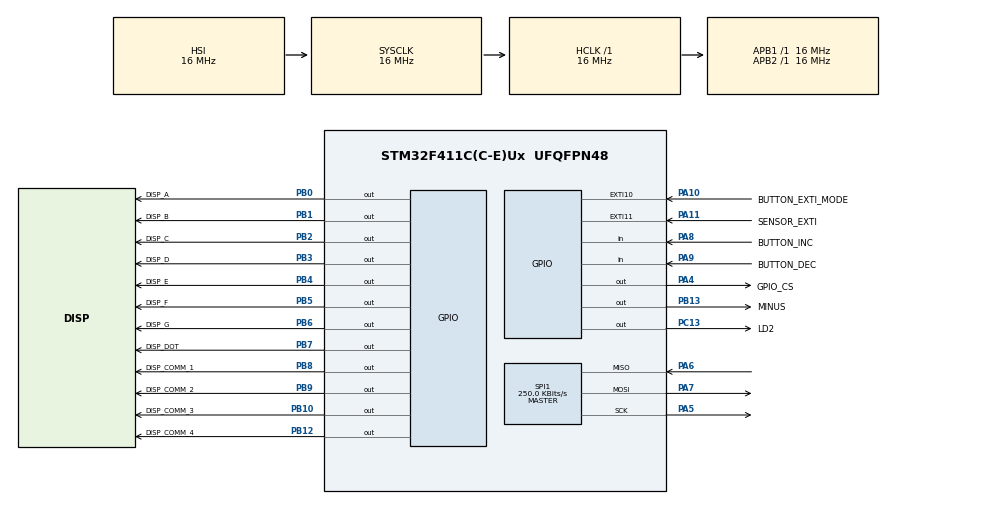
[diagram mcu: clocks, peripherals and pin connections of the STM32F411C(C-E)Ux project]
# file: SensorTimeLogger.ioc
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Mcu.Family=STM32F4
Mcu.Name=STM32F411C(C-E)Ux
Mcu.Package=UFQFPN48
NVIC.EXTI15_10_IRQn=true\:0\:0\:false\:false\:true\:true\:true\:true
NVIC.PriorityGroup=NVIC_PRIORITYGROUP_4
NVIC.TIM1_BRK_TIM9_IRQn=true\:0\:0\:false\:false\:true\:true\:true\:true
PA10.GPIO_Label=BUTTON_EXTI_MODE
PA10.GPIO_ModeDefaultEXTI=GPIO_MODE_IT_FALLING
PA10.GPIO_PuPd=GPIO_PULLUP
PA10.Signal=GPXTI10
PA11.GPIO_Label=SENSOR_EXTI
PA11.GPIO_PuPd=GPIO_PULLUP
PA11.Signal=GPXTI11
PA4.GPIO_Label=GPIO_CS
PA4.GPIO_PuPd=GPIO_PULLUP
PA4.PinState=GPIO_PIN_SET
PA4.Signal=GPIO_Output
PA5.GPIO_PuPd=GPIO_PULLUP
PA5.Mode=Full_Duplex_Master
PA5.Signal=SPI1_SCK
PA6.GPIO_PuPd=GPIO_PULLUP
PA6.Mode=Full_Duplex_Master
PA6.Signal=SPI1_MISO
PA7.GPIO_PuPd=GPIO_PULLUP
PA7.Mode=Full_Duplex_Master
PA7.Signal=SPI1_MOSI
PA8.GPIO_Label=BUTTON_INC
PA8.GPIO_PuPd=GPIO_PULLUP
PA8.Signal=GPIO_Input
PA9.GPIO_Label=BUTTON_DEC
PA9.GPIO_PuPd=GPIO_PULLUP
PA9.Signal=GPIO_Input
PB0.GPIO_Label=DISP_A
PB0.PinState=GPIO_PIN_SET
PB0.Signal=GPIO_Output
PB1.GPIO_Label=DISP_B
PB1.PinState=GPIO_PIN_SET
PB1.Signal=GPIO_Output
PB10.GPIO_Label=DISP_COMM_3
PB10.Signal=GPIO_Output
PB12.GPIO_Label=DISP_COMM_4
PB12.Signal=GPIO_Output
PB13.GPIO_Label=MINUS
PB13.PinState=GPIO_PIN_SET
PB13.Signal=GPIO_Output
PB2.GPIO_Label=DISP_C
PB2.PinState=GPIO_PIN_SET
PB2.Signal=GPIO_Output
PB3.GPIO_Label=DISP_D
PB3.PinState=GPIO_PIN_SET
PB3.Signal=GPIO_Output
PB4.GPIO_Label=DISP_E
PB4.PinState=GPIO_PIN_SET
PB4.Signal=GPIO_Output
PB5.GPIO_Label=DISP_F
PB5.PinState=GPIO_PIN_SET
PB5.Signal=GPIO_Output
PB6.GPIO_Label=DISP_G
PB6.PinState=GPIO_PIN_SET
PB6.Signal=GPIO_Output
PB7.GPIO_Label=DISP_DOT
PB7.PinState=GPIO_PIN_SET
PB7.Signal=GPIO_Output
PB8.GPIO_Label=DISP_COMM_1
PB8.Signal=GPIO_Output
PB9.GPIO_Label=DISP_COMM_2
PB9.Signal=GPIO_Output
PC13-ANTI_TAMP.GPIO_Label=LD2
PC13-ANTI_TAMP.Signal=GPIO_Output
ProjectManager.HeapSize=0x200
ProjectManager.StackSize=0x400
ProjectManager.TargetToolchain=STM32CubeIDE
RCC.AHBFreq_Value=16000000
RCC.APB1Freq_Value=16000000
RCC.APB2Freq_Value=16000000
RCC.CortexFreq_Value=16000000
RCC.HSE_VALUE=25000000
RCC.HSI_VALUE=16000000
RCC.LSE_VALUE=32768
RCC.SYSCLKFreq_VALUE=16000000
RCC.VCOOutputFreq_Value=192000000
SPI1.BaudRatePrescaler=SPI_BAUDRATEPRESCALER_64
SPI1.CLKPhase=SPI_PHASE_1EDGE
SPI1.CLKPolarity=SPI_POLARITY_LOW
SPI1.CalculateBaudRate=250.0 KBits/s
SPI1.DataSize=SPI_DATASIZE_8BIT
SPI1.Direction=SPI_DIRECTION_2LINES
SPI1.Mode=SPI_MODE_MASTER
SPI1.VirtualType=VM_MASTER
TIM2.AutoReloadPreload=TIM_AUTORELOAD_PRELOAD_ENABLE
TIM2.Prescaler=15999
TIM9.AutoReloadPreload=TIM_AUTORELOAD_PRELOAD_ENABLE
TIM9.Period=29999
TIM9.Prescaler=1599
VP_FATFS_VS_Generic.Mode=User_defined
VP_TIM2_VS_ClockSourceINT.Mode=Internal
VP_TIM9_VS_ClockSourceINT.Mode=Internal
board=custom

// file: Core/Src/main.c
/* USER CODE BEGIN Header */
/**
  ******************************************************************************
  * @file           : main.c
  * @brief          : Main program body
  ******************************************************************************
  * @attention
  *
  * Copyright (c) 2026 STMicroelectronics.
  * All rights reserved.
  *
  * This software is licensed under terms that can be found in the LICENSE file
  * in the root directory of this software component.
  * If no LICENSE file comes with this software, it is provided AS-IS.
  *
  ******************************************************************************
  */
/* USER CODE END Header */
#include "main.h"
#include "fatfs.h"

/* USER CODE BEGIN Includes */
#include "../Display/display.h"
#include "../Modes/Modes.h"
/* USER CODE END Includes */

/* USER CODE BEGIN PTD */
typedef uint8_t U8;
typedef uint16_t U16;
typedef uint32_t U32;
typedef int32_t I32;
/* USER CODE END PTD */

SPI_HandleTypeDef hspi1;

TIM_HandleTypeDef htim2;
TIM_HandleTypeDef htim9;

FATFS fs;
char fileName[] = "timeLog.txt";

void SystemClock_Config(void);
static void MX_GPIO_Init(void);
static void MX_TIM2_Init(void);
static void MX_TIM9_Init(void);
static void MX_SPI1_Init(void);

/* USER CODE BEGIN 0 */

void HAL_TIM_PeriodElapsedCallback(TIM_HandleTypeDef *htim)
{
	if(htim == &htim9)
	{
		HAL_GPIO_WritePin(MINUS_GPIO_Port, MINUS_Pin, 1);
		prepareTime(lapToPrintAfterTime);
		HAL_TIM_Base_Stop(&htim9);
		__HAL_TIM_SET_COUNTER(&htim9, 0);
	}
}

FRESULT SDInit(void)
{
    return f_mount(&fs, "", 1);
}

void SDLogInt(int value)
{
    FIL fil;
    HAL_GPIO_WritePin(LD2_GPIO_Port, LD2_Pin, 1);
    if (f_open(&fil, "timeLog.txt", FA_WRITE | FA_OPEN_APPEND) == FR_OK)
    {

        f_printf(&fil, "%d\n", value);
        f_close(&fil);
    }
    HAL_GPIO_WritePin(LD2_GPIO_Port, LD2_Pin, 0);
}

void FatFS_Write_Test(void) {
    FATFS fs;
    FIL fil;
    FRESULT res;
    UINT bytesWritten;
    char textData[] = "Czesc! To jest test zapisu z STM32.\r\n";

    res = f_mount(&fs, "", 1);

    if (res != FR_OK)
    {
        return;
    }

    res = f_open(&fil, "laptimes.txt", FA_WRITE | FA_CREATE_ALWAYS);

    if (res == FR_OK)
    {

        res = f_write(&fil, textData, strlen(textData), &bytesWritten);

        if ((res == FR_OK) && (bytesWritten == strlen(textData))) {
        }
        else
        {
        }

        f_close(&fil);
    }
    else
    {

    }

    f_mount(NULL, "", 0);
}

/* USER CODE END 0 */

int main(void)
{

  /* MCU Configuration--------------------------------------------------------*/

  /* Reset of all peripherals, Initializes the Flash interface and the Systick. */
  HAL_Init();

  /* Configure the system clock */
  SystemClock_Config();

  /* Initialize all configured peripherals */
  MX_GPIO_Init();
  MX_TIM2_Init();
  MX_TIM9_Init();
  MX_FATFS_Init();
  MX_SPI1_Init();

  /* Infinite loop */
  /* USER CODE BEGIN WHILE */

  SDInit();
  initEdit();
  HAL_TIM_Base_Start_IT(&htim2);

  while (1)
  {
	  if(state == TIME)
	  {
		  processDisplayDigits();
		  HAL_Delay(5);
	  }
	  else if(state == EDIT)
	  {
		  editMode();
	  }
	  else
	  {
		  animationMode();
	  }
    /* USER CODE END WHILE */

  }
}

void SystemClock_Config(void)
{
  RCC_OscInitTypeDef RCC_OscInitStruct = {0};
  RCC_ClkInitTypeDef RCC_ClkInitStruct = {0};

  /** Configure the main internal regulator output voltage
  */
  __HAL_RCC_PWR_CLK_ENABLE();
  __HAL_PWR_VOLTAGESCALING_CONFIG(PWR_REGULATOR_VOLTAGE_SCALE1);

  /** Initializes the RCC Oscillators according to the specified parameters
  * in the RCC_OscInitTypeDef structure.
  */
  RCC_OscInitStruct.OscillatorType = RCC_OSCILLATORTYPE_HSI;
  RCC_OscInitStruct.HSIState = RCC_HSI_ON;
  RCC_OscInitStruct.HSICalibrationValue = RCC_HSICALIBRATION_DEFAULT;
  RCC_OscInitStruct.PLL.PLLState = RCC_PLL_NONE;
  if (HAL_RCC_OscConfig(&RCC_OscInitStruct) != HAL_OK)
  {
    Error_Handler();
  }

  /** Initializes the CPU, AHB and APB buses clocks
  */
  RCC_ClkInitStruct.ClockType = RCC_CLOCKTYPE_HCLK|RCC_CLOCKTYPE_SYSCLK
                              |RCC_CLOCKTYPE_PCLK1|RCC_CLOCKTYPE_PCLK2;
  RCC_ClkInitStruct.SYSCLKSource = RCC_SYSCLKSOURCE_HSI;
  RCC_ClkInitStruct.AHBCLKDivider = RCC_SYSCLK_DIV1;
  RCC_ClkInitStruct.APB1CLKDivider = RCC_HCLK_DIV1;
  RCC_ClkInitStruct.APB2CLKDivider = RCC_HCLK_DIV1;

  if (HAL_RCC_ClockConfig(&RCC_ClkInitStruct, FLASH_LATENCY_0) != HAL_OK)
  {
    Error_Handler();
  }
}

static void MX_SPI1_Init(void)
{

  /* SPI1 parameter configuration*/
  hspi1.Instance = SPI1;
  hspi1.Init.Mode = SPI_MODE_MASTER;
  hspi1.Init.Direction = SPI_DIRECTION_2LINES;
  hspi1.Init.DataSize = SPI_DATASIZE_8BIT;
  hspi1.Init.CLKPolarity = SPI_POLARITY_LOW;
  hspi1.Init.CLKPhase = SPI_PHASE_1EDGE;
  hspi1.Init.NSS = SPI_NSS_SOFT;
  hspi1.Init.BaudRatePrescaler = SPI_BAUDRATEPRESCALER_64;
  hspi1.Init.FirstBit = SPI_FIRSTBIT_MSB;
  hspi1.Init.TIMode = SPI_TIMODE_DISABLE;
  hspi1.Init.CRCCalculation = SPI_CRCCALCULATION_DISABLE;
  hspi1.Init.CRCPolynomial = 10;
  if (HAL_SPI_Init(&hspi1) != HAL_OK)
  {
    Error_Handler();
  }

}

static void MX_TIM2_Init(void)
{

  TIM_ClockConfigTypeDef sClockSourceConfig = {0};
  TIM_MasterConfigTypeDef sMasterConfig = {0};

  htim2.Instance = TIM2;
  htim2.Init.Prescaler = 15999;
  htim2.Init.CounterMode = TIM_COUNTERMODE_UP;
  htim2.Init.Period = 4294967295;
  htim2.Init.ClockDivision = TIM_CLOCKDIVISION_DIV1;
  htim2.Init.AutoReloadPreload = TIM_AUTORELOAD_PRELOAD_ENABLE;
  if (HAL_TIM_Base_Init(&htim2) != HAL_OK)
  {
    Error_Handler();
  }
  sClockSourceConfig.ClockSource = TIM_CLOCKSOURCE_INTERNAL;
  if (HAL_TIM_ConfigClockSource(&htim2, &sClockSourceConfig) != HAL_OK)
  {
    Error_Handler();
  }
  sMasterConfig.MasterOutputTrigger = TIM_TRGO_RESET;
  sMasterConfig.MasterSlaveMode = TIM_MASTERSLAVEMODE_DISABLE;
  if (HAL_TIMEx_MasterConfigSynchronization(&htim2, &sMasterConfig) != HAL_OK)
  {
    Error_Handler();
  }

}

static void MX_TIM9_Init(void)
{

  TIM_ClockConfigTypeDef sClockSourceConfig = {0};

  htim9.Instance = TIM9;
  htim9.Init.Prescaler = 1599;
  htim9.Init.CounterMode = TIM_COUNTERMODE_UP;
  htim9.Init.Period = 29999;
  htim9.Init.ClockDivision = TIM_CLOCKDIVISION_DIV1;
  htim9.Init.AutoReloadPreload = TIM_AUTORELOAD_PRELOAD_ENABLE;
  if (HAL_TIM_Base_Init(&htim9) != HAL_OK)
  {
    Error_Handler();
  }
  sClockSourceConfig.ClockSource = TIM_CLOCKSOURCE_INTERNAL;
  if (HAL_TIM_ConfigClockSource(&htim9, &sClockSourceConfig) != HAL_OK)
  {
    Error_Handler();
  }

}

static void MX_GPIO_Init(void)
{
  GPIO_InitTypeDef GPIO_InitStruct = {0};

  /* GPIO Ports Clock Enable */
  __HAL_RCC_GPIOC_CLK_ENABLE();
  __HAL_RCC_GPIOA_CLK_ENABLE();
  __HAL_RCC_GPIOB_CLK_ENABLE();

  /*Configure GPIO pin Output Level */
  HAL_GPIO_WritePin(LD2_GPIO_Port, LD2_Pin, GPIO_PIN_RESET);

  /*Configure GPIO pin Output Level */
  HAL_GPIO_WritePin(GPIO_CS_GPIO_Port, GPIO_CS_Pin, GPIO_PIN_SET);

  /*Configure GPIO pin Output Level */
  HAL_GPIO_WritePin(GPIOB, DISP_A_Pin|DISP_B_Pin|DISP_C_Pin|MINUS_Pin
                          |DISP_D_Pin|DISP_E_Pin|DISP_F_Pin|DISP_G_Pin
                          |DISP_DOT_Pin, GPIO_PIN_SET);

  /*Configure GPIO pin Output Level */
  HAL_GPIO_WritePin(GPIOB, DISP_COMM_3_Pin|DISP_COMM_4_Pin|DISP_COMM_1_Pin|DISP_COMM_2_Pin, GPIO_PIN_RESET);

  /*Configure GPIO pin : LD2_Pin */
  GPIO_InitStruct.Pin = LD2_Pin;
  GPIO_InitStruct.Mode = GPIO_MODE_OUTPUT_PP;
  GPIO_InitStruct.Pull = GPIO_NOPULL;
  GPIO_InitStruct.Speed = GPIO_SPEED_FREQ_LOW;
  HAL_GPIO_Init(LD2_GPIO_Port, &GPIO_InitStruct);

  /*Configure GPIO pin : GPIO_CS_Pin */
  GPIO_InitStruct.Pin = GPIO_CS_Pin;
  GPIO_InitStruct.Mode = GPIO_MODE_OUTPUT_PP;
  GPIO_InitStruct.Pull = GPIO_PULLUP;
  GPIO_InitStruct.Speed = GPIO_SPEED_FREQ_LOW;
  HAL_GPIO_Init(GPIO_CS_GPIO_Port, &GPIO_InitStruct);

  /*Configure GPIO pins : DISP_A_Pin DISP_B_Pin DISP_C_Pin DISP_COMM_3_Pin
                           DISP_COMM_4_Pin MINUS_Pin DISP_D_Pin DISP_E_Pin
                           DISP_F_Pin DISP_G_Pin DISP_DOT_Pin DISP_COMM_1_Pin
                           DISP_COMM_2_Pin */
  GPIO_InitStruct.Pin = DISP_A_Pin|DISP_B_Pin|DISP_C_Pin|DISP_COMM_3_Pin
                          |DISP_COMM_4_Pin|MINUS_Pin|DISP_D_Pin|DISP_E_Pin
                          |DISP_F_Pin|DISP_G_Pin|DISP_DOT_Pin|DISP_COMM_1_Pin
                          |DISP_COMM_2_Pin;
  GPIO_InitStruct.Mode = GPIO_MODE_OUTPUT_PP;
  GPIO_InitStruct.Pull = GPIO_NOPULL;
  GPIO_InitStruct.Speed = GPIO_SPEED_FREQ_LOW;
  HAL_GPIO_Init(GPIOB, &GPIO_InitStruct);

  /*Configure GPIO pins : BUTTON_INC_Pin BUTTON_DEC_Pin */
  GPIO_InitStruct.Pin = BUTTON_INC_Pin|BUTTON_DEC_Pin;
  GPIO_InitStruct.Mode = GPIO_MODE_INPUT;
  GPIO_InitStruct.Pull = GPIO_PULLUP;
  HAL_GPIO_Init(GPIOA, &GPIO_InitStruct);

  /*Configure GPIO pin : BUTTON_EXTI_MODE_Pin */
  GPIO_InitStruct.Pin = BUTTON_EXTI_MODE_Pin;
  GPIO_InitStruct.Mode = GPIO_MODE_IT_FALLING;
  GPIO_InitStruct.Pull = GPIO_PULLUP;
  HAL_GPIO_Init(BUTTON_EXTI_MODE_GPIO_Port, &GPIO_InitStruct);

  /*Configure GPIO pin : SENSOR_EXTI_Pin */
  GPIO_InitStruct.Pin = SENSOR_EXTI_Pin;
  GPIO_InitStruct.Mode = GPIO_MODE_IT_RISING;
  GPIO_InitStruct.Pull = GPIO_PULLUP;
  HAL_GPIO_Init(SENSOR_EXTI_GPIO_Port, &GPIO_InitStruct);

  /* EXTI interrupt init*/
  HAL_NVIC_SetPriority(EXTI15_10_IRQn, 0, 0);
  HAL_NVIC_EnableIRQ(EXTI15_10_IRQn);

}

/* USER CODE BEGIN 4 */
void HAL_GPIO_EXTI_Callback(uint16_t GPIO_Pin)
{
	if(GPIO_Pin == SENSOR_EXTI_Pin)
	{
		static U32 lastValidTrigger = 0;
		U32 now = HAL_GetTick();

		if (now - lastValidTrigger < 1000)
		{
			return;
		}

		lastValidTrigger = now;

		if (htim9.State == HAL_TIM_STATE_BUSY)
		{
			HAL_TIM_Base_Stop_IT(&htim9);
			__HAL_TIM_SET_COUNTER(&htim9, 0);
		}
		U32 sectorTimeTick = __HAL_TIM_GET_COUNTER(&htim2);
		__HAL_TIM_SET_COUNTER(&htim2, 0);

		if(lapCount != 0)
		{
			processLapTime(sectorTimeTick);
		}
		else
		{
			processLapZero(sectorTimeTick);
		}
	}
	else if(GPIO_Pin == BUTTON_EXTI_MODE_Pin)
	{
		__HAL_TIM_DISABLE_IT(&htim9, TIM_IT_UPDATE);
		processModeExti();
	}
	else
	{
		__NOP();
	}
}
/* USER CODE END 4 */

void Error_Handler(void)
{
  __disable_irq();
  while (1)
  {
  }
}
